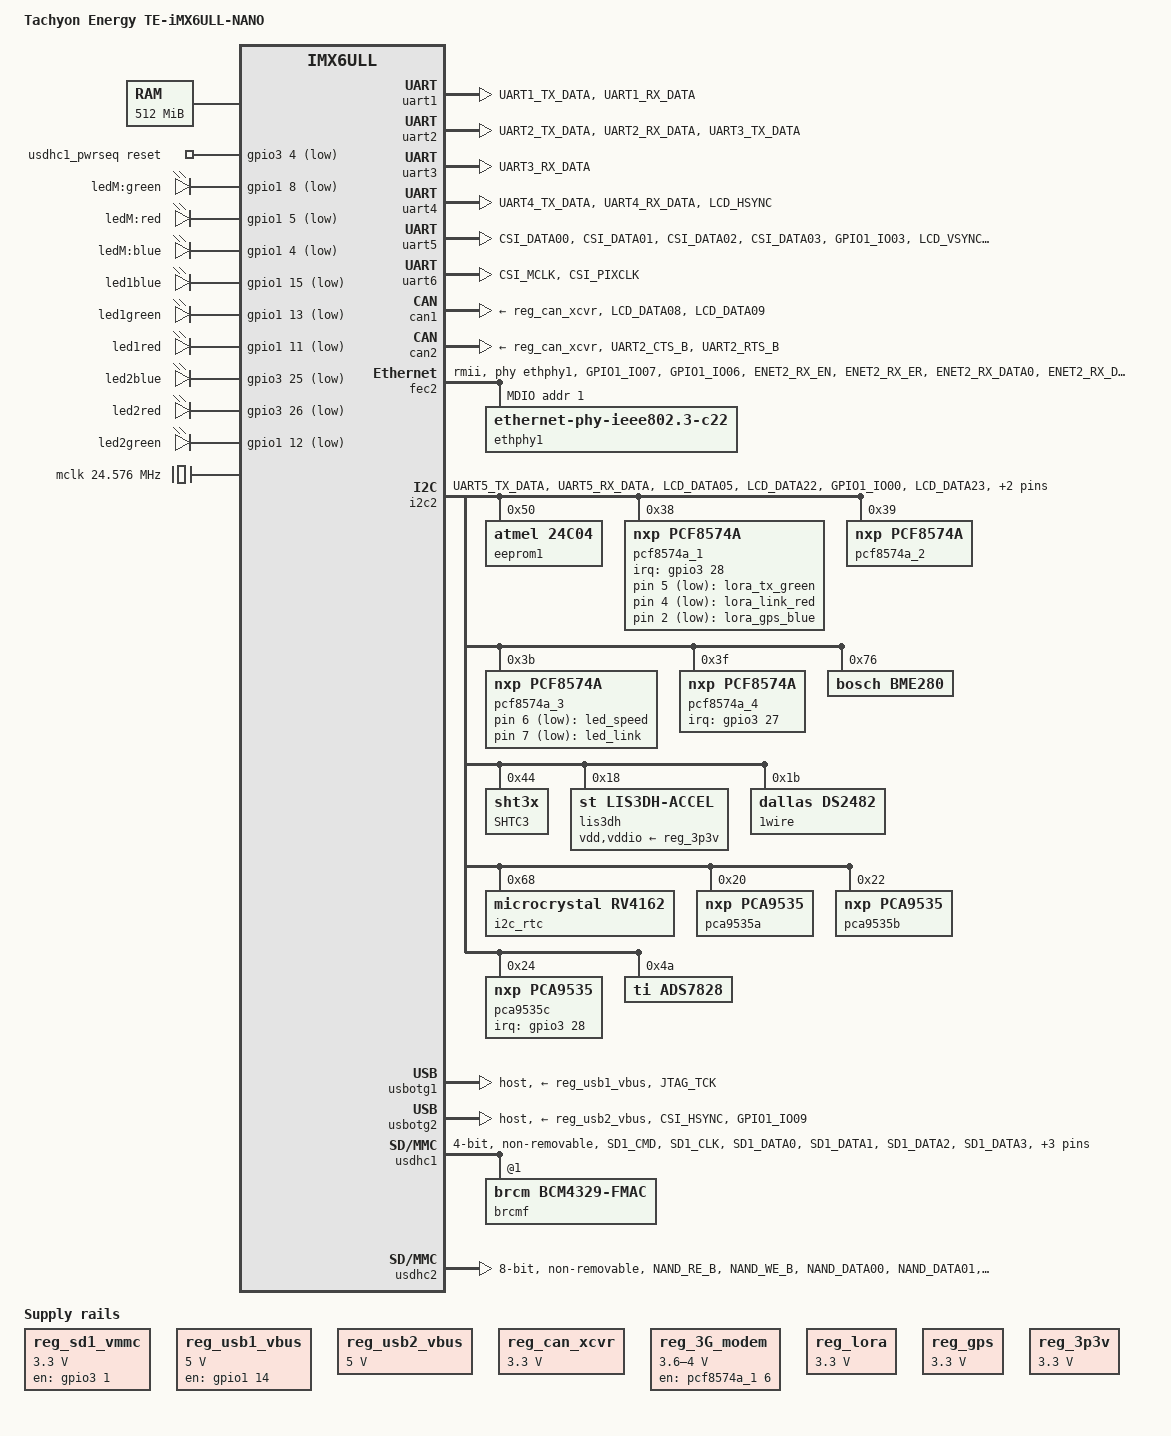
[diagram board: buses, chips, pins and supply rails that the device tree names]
/*
 * Copyright (C) 2015 Freescale Semiconductor, Inc.
 *
 * This program is free software; you can redistribute it and/or modify
 * it under the terms of the GNU General Public License version 2 as
 * published by the Free Software Foundation.
 */

 /*
  * TE-iMX6ULL-NANO-CPU-V1 PLC 
  * www.tachyon.energy
  * contact  d.konnor@tachyon.energy
  */

/dts-v1/;

#include "imx6ull.dtsi"




/ {
        model = "Tachyon Energy TE-iMX6ULL-NANO";
        compatible = "fsl,imx6ull-14x14-evk", "fsl,imx6ull";

        memory {
                reg = <0x80000000 0x20000000>;
        };

        chosen {
                stdout-path = &uart1;
        };

       
        regulators {
                compatible = "simple-bus";
                #address-cells = <1>;
                #size-cells = <0>;

                reg_sd1_vmmc: regulator-sd1 {
                        compatible = "regulator-fixed";
                        reg = <1>;
                        regulator-name = "VSD_3V3";
                        regulator-min-microvolt = <3300000>;
                        regulator-max-microvolt = <3300000>;
                        gpio = <&gpio3 1 GPIO_ACTIVE_HIGH>;
			enable-active-high;
                        regulator-always-on;
                };



		usdhc1_pwrseq: usdhc1_pwrseq {
                        compatible = "mmc-pwrseq-simple";
                        reset-gpios = <&gpio3 4 GPIO_ACTIVE_LOW>;      // WL_REG_ON
                };



                reg_usb1_vbus: regulator-usb1 {
                        compatible = "regulator-fixed";                 // TE
                        reg = <2>;
                        regulator-name = "usb1_vbus";
                        regulator-min-microvolt = <5000000>;
                        regulator-max-microvolt = <5000000>;
                        gpio = <&gpio1 14 GPIO_ACTIVE_HIGH>;
			            enable-active-high;
                        regulator-always-on;
                };


                reg_usb2_vbus: regulator-usb2 {
                        compatible = "regulator-fixed";                 // TE
                        reg = <3>;
                        regulator-name = "usb2_vbus";
                        regulator-min-microvolt = <5000000>;
                        regulator-max-microvolt = <5000000>;
                        regulator-always-on;
                };

                reg_can_xcvr: regulator-canxcvr {
                        compatible = "regulator-fixed";                 // TE
                        reg = <4>;
                        regulator-name = "CAN_XCVR";
                        regulator-min-microvolt = <3300000>;
                        regulator-max-microvolt = <3300000>;
                        regulator-always-on;
    		};

                reg_3G_modem: regulator-3gmodem {                       // 
                        compatible = "regulator-fixed";
                        reg = <5>;
                        regulator-name = "3G_MODEM";
                        regulator-min-microvolt = <3600000>;
                        regulator-max-microvolt = <4000000>;
                        gpio = <&pcf8574a_1 6 GPIO_ACTIVE_HIGH>;
			            enable-active-high;
                        regulator-always-on;
    		};   

                reg_lora: regulator-lora {
                        compatible = "regulator-fixed";
                        reg = <6>;
                        regulator-name = "LoRa";
                        regulator-min-microvolt = <3300000>;
                        regulator-max-microvolt = <3300000>;
                        regulator-always-on;
    		};      

                reg_gps: regulator-gps {
                        compatible = "regulator-fixed";
                        reg = <7>;
                        regulator-name = "GPS";
                        regulator-min-microvolt = <3300000>;
                        regulator-max-microvolt = <3300000>;
                        regulator-always-on;
    		};               

    		reg_3p3v: regulator-3p3v {
                        compatible = "regulator-fixed";
                        reg = <9>;
                        regulator-name = "3P3V";
                        regulator-min-microvolt = <3300000>;
                        regulator-max-microvolt = <3300000>;
                        regulator-always-on;
                        regulator-boot-on;
                };
        };


        leds    {
                        compatible = "gpio-leds";  
                        pinctrl-names = "default";
                        pinctrl-0 = <&pinctrl_led>; 

                    led_module_green:led_green {                                                          // TE Green LED
                        gpios = <&gpio1 8 GPIO_ACTIVE_LOW>;
                        label = "ledM:green";
                        default-state = "off";
                        };
                    led_module_red:led_red {                                                              // TE Red LED
                        gpios = <&gpio1 5 GPIO_ACTIVE_LOW>;
                        label = "ledM:red";
                        default-state = "off";
                        };
                    led_module_blue:led_blue {                                                            // TE Blue LED
                        gpios = <&gpio1 4 GPIO_ACTIVE_LOW>;
                        label = "ledM:blue";
                        default-state = "on";
                        linux,default-trigger = "heartbeat";
                        };

                    led_ext1:led_ext1 {                                 // pin 10                         // TE LED1-BLUE
                        gpios = <&gpio1 15 GPIO_ACTIVE_LOW>;
                        label = "led1blue";
                        default-state = "off";
                        };

                    led_ext2:led_ext2 {                                 // pin 8                          // TE LED1-GREEN
                        gpios = <&gpio1 13 GPIO_ACTIVE_LOW>;
                        label = "led1green";
                        default-state = "on";
                        linux,default-trigger = "heartbeat";
                        };
                    led_ext3:led_ext3 {                                 // pin 6                          // TE LED1-RED
                        gpios = <&gpio1 11 GPIO_ACTIVE_LOW>;
                        label = "led1red";
                        default-state = "off";
                        };
                    led_ext4:led_ext4 {                                 // pin 18                         // TE LED2-BLUE
                        gpios = <&gpio3 25 GPIO_ACTIVE_LOW>;
                        label = "led2blue";
                        default-state = "off";
                        };
                    led_ext5:led_ext5 {                                 // pin 24                         // TE LED-RED
                        gpios = <&gpio3 26 GPIO_ACTIVE_LOW>;
                        label = "led2red";
                        default-state = "off";
                        };
                    led_ext6:led_ext6 {                                 // pin 4                          // TE LED2-GREEN
                        gpios = <&gpio1 12 GPIO_ACTIVE_LOW>;
                        label = "led2green";
                        default-state = "on";
                        };            
        };        

//Ethernet 0 LEDs (Speed and Link)                                                                 // CPU Board     
        leds2   {
                        compatible = "gpio-leds";

                    led_100M:led_eth1 {                                                            // TE ETH Speed LED LED
                        gpios = <&pcf8574a_3 6 GPIO_ACTIVE_LOW>;
                        label = "led_speed";
                        default-state = "on";
                        linux,default-trigger = "20b4000.ethernet-1:01:100Mbps";
                        };     
                    led_link:led_eth2 {                                                            // TE ETH Speed LED LED
                        gpios = <&pcf8574a_3 7 GPIO_ACTIVE_LOW>;
                        label = "led_link";
                        default-state = "on";
                        linux,default-trigger = "20b4000.ethernet-1:01:link";
                        };                      
        };

        leds3   {                                                                                   // Modem board    
                        compatible = "gpio-leds";

                    led_lora_tx:led_lrw_tx {
                        gpios = <&pcf8574a_1 5 GPIO_ACTIVE_LOW>;
                        label = "lora_tx_green";
                        default-state = "off";       
                        };
                    led_lora_link:led_lrw_link {
                        gpios = <&pcf8574a_1 4 GPIO_ACTIVE_LOW>;
                        label = "lora_link_red";
                        default-state = "off";       
                        };
                    led_gps:led_gps {
                        gpios = <&pcf8574a_1 2 GPIO_ACTIVE_LOW>;
                        label = "lora_gps_blue";
                        default-state = "off";       
                        };                  
        };

       clocks {
		mclk: mclk {
		compatible = "fixed-clock";
		#clock-cells = <0>;
		clock-frequency = <24576000>;
		};
	};



};

&gpio1 {

                gpio-line-names = 
                        "", "", "EN_TBD", "", "", "", "", "",
                        "", "MODEM_RESET", "REBOOT", "", "", "", "", "",
                        "", "", "", "", "", "", "", "",
                        "", "", "EN_RELAY", "", "", "", "", "";
};

&gpio3 {

                gpio-line-names = 
                        "", "WIFI_PWR_EN", "", "BT_REG_ON", "WL_REG_ON", "", "", "",
                        "", "WL_HOST_WAKE", "", "", "", "", "", "BT_HOST_WAKE",
                        "BT_WAKE", "", "", "", "", "", "", "",
                        "", "", "", "", "", "", "", "";
};

&gpio4 {

                gpio-line-names = 
                        "", "", "", "", "", "", "", "",
                        "", "", "", "", "", "", "", "",
                        "", "", "", "", "MODEM_POWERKEY", "", "", "",
                        "", "", "", "", "", "", "", "";
};


&clks {
	assigned-clocks = <&clks IMX6UL_CLK_PLL4_AUDIO_DIV>;
	assigned-clock-rates = <786432000>;
};


&uart1 {                                        // TE DUART console  
        pinctrl-names = "default";
        pinctrl-0 = <&pinctrl_uart1>;
        status = "okay";
};


&uart2 {                                        // TE UART2 - RS485 interface 
        pinctrl-names = "default";
        pinctrl-0 = <&pinctrl_uart2>;
        uart-has-rtscts;
	linux,rs485-enabled-at-boot-time;
        status = "okay";
};

&uart3 {                                        // TE UART3 - GPS IN 
        pinctrl-names = "default";
        pinctrl-0 = <&pinctrl_uart3>;
        status = "okay";
};

&uart4 {                                        // TE UART4 - RS485 interface 
        pinctrl-names = "default";
        pinctrl-0 = <&pinctrl_uart4>;
        uart-has-rtscts;
	linux,rs485-enabled-at-boot-time;
        status = "okay";
};

&uart5 {                                        // TE UART5 - Bluetooth interface 
        pinctrl-names = "default";
        pinctrl-0 = <&pinctrl_uart5>;
        uart-has-rtscts;
        status = "okay";
};

&uart6 {                                        // TE LoRa Modem UART 
        pinctrl-names = "default";
        pinctrl-0 = <&pinctrl_uart6>;
        status = "okay";
};


&can1 {
        pinctrl-names = "default";              // TE CAN1 
        pinctrl-0 = <&pinctrl_flexcan1>;
        xceiver-supply = <&reg_can_xcvr>;
        status = "okay";
};

&can2 {
        pinctrl-names = "default";              // TE CAN2 
        pinctrl-0 = <&pinctrl_flexcan2>;
        xceiver-supply = <&reg_can_xcvr>;
        status = "okay";
};

&fec2 {
        pinctrl-names = "default";              // TE
        pinctrl-0 = <&pinctrl_enet2>;
        phy-mode = "rmii";
        phy-reset-gpios = <&gpio3 20 GPIO_ACTIVE_LOW>;
        phy-reset-duration = <100>;
        phy-handle = <&ethphy1>;
        status = "okay";

        mdio {
                #address-cells = <1>;
                #size-cells = <0>;

                ethphy1: ethernet-phy@1 {
                        compatible = "ethernet-phy-ieee802.3-c22";
                        reg = <1>;
                };
        };
};

&gpc {
        fsl,cpu_pupscr_sw2iso = <0x1>;
        fsl,cpu_pupscr_sw = <0x0>;
        fsl,cpu_pdnscr_iso2sw = <0x1>;
        fsl,cpu_pdnscr_iso = <0x1>;
        fsl,ldo-bypass = <0>; /* DCDC, ldo-enable */
};

&i2c2 {
        clock_frequency = <100000>;             // TE
        pinctrl-names = "default";
        pinctrl-0 = <&pinctrl_i2c2>;
        status = "okay";

	eeprom1: eeprom@50 {
                compatible = "atmel,24c04";
                reg = <0x50>;
        };


	pcf8574a_1: gpio@38 {                                     //GPIO Expander1 Modem/LOra PCB
                                    // P0 - Not Used in Ver2
                                    // P1 - Not Used in Ver2
                                    // P2 - LED_GPS
                	            // P3 - LORA_RST
                                    // P4 - LED_LORA_LINK
                    	            // P5 - LED_LORA_TX
                                    // P6 - EN_GSM_PWR
                                    // P7 - GPS_RESET
                compatible = "nxp,pcf8574a";
                reg = <0x38>;                                   // PCF8574A Address -0-0-0
                gpio-controller;
                #gpio-cells = <2>;
                interrupt-parent = <&gpio3>;
                interrupts = <28 0>;
                lines-initial-states = <0xff>;
                gpio-line-names = "", "", "", "LORA_RST",
                                "", "", "EN_GSM_PWR", "RESET_GPS";
                };

        pcf8574a_2: gpio@39 {                                     //GPIO Expander2 Modem/LOra PCB TBD62381A Not Used Now
                                    // P0 - DOUT1
                                    // P1 - DOUT2
                                    // P2 - DOUT3
                	            // P3 - DOUT4
                                    // P4 - DOUT5
                    	            // P5 - DOUT6
                                    // P6 - DOUT7
                                    // P7 - DOUT8
                compatible = "nxp,pcf8574a";
                reg = <0x39>;                                   // PCF8574A Address -1-1-0
                gpio-controller;
                #gpio-cells = <2>;
                lines-initial-states = <0xffff>;
                gpio-line-names = "DOUT1", "DOUT2", "DOUT3", "DOUT4",
                                "DOUT5", "DOUT6", "DOUT7", "DOUT8";
                };

       pcf8574a_3: gpio@3b {                                     //GPIO Expander3 TE-CPU-V1-PCB 
                                    // P0 - Relay1
                                    // P1 - Relay2
                                    // P2 - Relay3
                	            // P3 - Relay4
                                    // P4 - Relay5
                    	            // P5 - Relay6
                                    // P6 - LED-100M
                                    // P7 - LED-LINK
                compatible = "nxp,pcf8574a";
                reg = <0x3b>;                                   // PCF8574A Address -0-1-1
                gpio-controller;
                #gpio-cells = <2>;
                lines-initial-states = <0xffff>;
                gpio-line-names = "RELAY1", "RELAY2", "RELAY3", 
                        "", "", "", "", "";
//                        "RELAY4", "RELAY5", "RELAY6", "", "";
                };

	pcf8574a_4: gpio@3f {                                     //GPIO Expander4 TE-CPU-V1-PCB
                                    // P0 - DIN1
                                    // P1 - DIN2
                                    // P2 - DIN3
                	            // P3 - DIN4
                                    // P4 - DIN5
                    	            // P5 - DIN6
                                    // P6 - DIN7
                                    // P7 - DIN8
                compatible = "nxp,pcf8574a";
                reg = <0x3f>;                                   // PCF8574A Address -1-1-1
                gpio-controller;
                #gpio-cells = <2>;
                interrupt-parent = <&gpio3>;
                interrupts = <27 0>;
                lines-initial-states = <0xff>;
                gpio-line-names = "DIN1", "DIN2", "DIN3", "DIN4",
                                "DIN5", "DIN6", "DIN7", "DIN8";
                };


        bme280:  bme280@76 {
                        compatible = "bosch,bme280";
                        reg = <0x76>;
                        label = "BME280";
                };

        shtc3:  shtc3@44 {                        
                        compatible = "sht3x";
                        reg = <0x44>;
                        label = "SHTC3";

                };        

        lis3dh: lis3dh@18 {
                        compatible = "st,lis3dh-accel";
			reg = <0x18>;
                        vdd-supply = <&reg_3p3v>;
			vddio-supply = <&reg_3p3v>;
                        st,min-interval = <5>;
			st,init-interval = <200>;
			st,axis-map-x = <1>;
			st,axis-map-y = <0>;
			st,axis-map-z = <2>;
			st,g-range = <2>;
			st,negate-x;
			st,negate-y;
			st,negate-z;
                };
	1wire@1B {
			compatible = "dallas,ds2482";
			reg = <0x1B>;
		};

        i2c_rtc: rtc@68 {                
                compatible = "microcrystal,rv4162";
                reg = <0x68>;
                };


        pca9535a: gpio-expander@20 {							// TE-EXP-15R-Rev2A
                compatible = "nxp,pca9535";
                reg = <0x20>;
                gpio-controller;
                #gpio-cells = <2>;
                gpio-line-names = "RELAY7", "RELAY8", "RELAY9", "RELAY10",
                      "RELAY11", "RELAY12", "RELAY13", "RELAY14",
                      "RELAY15", "RELAY16", "RELAY17", "RELAY18",
                      "RELAY19", "RELAY20", "RELAY21", "";
        };

        pca9535b: gpio-expander@22 {							// TE-EXP-9R12i-Rev2A Relay Outputs
                compatible = "nxp,pca9535";
                reg = <0x22>;
                gpio-controller;
                #gpio-cells = <2>;
                gpio-line-names = "RELAY22", "RELAY23", "RELAY24", "RELAY25",
                      "RELAY26", "RELAY27", "RELAY28", "RELAY29",
                      "RELAY30", "", "", "",
                      "", "", "", "";
        };

	pca9535c: gpio-expander@24 {							// TE-EXP-9R12i-Rev2A
                compatible = "nxp,pca9535";
                reg = <0x24>;
                gpio-controller;
                #gpio-cells = <2>;
		interrupt-parent = <&gpio3>;
		interrupts = <28 0>;
		interrupt-controller;
		#interrupt-cells = <2>;
                gpio-line-names = "DIN20", "DIN19", "DIN18", "DIN17",
                      "DIN16", "DIN15", "DIN14", "DIN13",
                      "DIN12", "DIN11", "DIN10", "DIN9",
                      "", "", "", "";
        };

         ads7828@4a {
                compatible = "ti,ads7828";
                reg = <0x4a>;
        };

        

};

&usbotg1 {
        dr_mode = "host";
        srp-disable;
        hnp-disable;
        adp-disable;
        pinctrl-names = "default";
        pinctrl-0 = <&pinctrl_usb_otg1>;
        vbus-supply = <&reg_usb1_vbus>;
        status = "okay";
};

&usbotg2 {
        vbus-supply = <&reg_usb2_vbus>;
        dr_mode = "host";
        disable-over-current;
        pinctrl-names = "default";
        pinctrl-0 = <&pinctrl_usb_otg2>;
        status = "okay";
};

&usbphy1 {
        tx-d-cal = <0x5>;
};

&usbphy2 {
        tx-d-cal = <0x5>;
};


&usdhc1 {
        #address-cells = <1>;
        #size-cells = <0>;
        pinctrl-names = "default";
        pinctrl-0 = <&pinctrl_usdhc1>;
        bus-width = <4>;
        no-1-8-v;
        non-removable;
        mmc-pwrseq = <&usdhc1_pwrseq>;
        status = "okay";

        brcmf: bcrmf@1 {
                reg = <1>;
                compatible = "brcm,bcm4329-fmac", "brcm,bcm43xx-fmac";
        };
};



&usdhc2 {
        pinctrl-names = "default";
        pinctrl-0 = <&pinctrl_usdhc2>;
        bus-width = <8>;
        no-1-8-v;
        non-removable;
        keep-power-in-suspend;
        enable-sdio-wakeup;
        status = "okay";
};

&iomuxc {
        pinctrl-names = "default";
        pinctrl-0 = <&pinctrl_hog>;
        pinctrl_hog: hoggrp {
                        fsl,pins = <
                        >;
                };

                 pinctrl_led: ledgrp {
                        fsl,pins = <
                                MX6UL_PAD_GPIO1_IO04__GPIO1_IO04        0x1b0b0         /* Blue LED              */
                                MX6UL_PAD_GPIO1_IO05__GPIO1_IO05        0x1b0b0         /* Red LED               */
                                MX6UL_PAD_GPIO1_IO08__GPIO1_IO08        0x1b0b0         /* Green LED             */

                                MX6UL_PAD_JTAG_TRST_B__GPIO1_IO15       0x1b0b0         /* CPU PCB LED1         */
                                MX6UL_PAD_JTAG_TDI__GPIO1_IO13          0x1b0b0         /* CPU PCB LED2         */
                                MX6UL_PAD_JTAG_TMS__GPIO1_IO11          0x1b0b0         /* CPU PCB LED3         */
                                MX6UL_PAD_JTAG_TDO__GPIO1_IO12          0x1b0b0
                                MX6UL_PAD_LCD_DATA20__GPIO3_IO25        0x1b0b0
                                MX6UL_PAD_LCD_DATA21__GPIO3_IO26        0x1b0b0
                        >;
                };


                pinctrl_enet1: enet1grp {
                        fsl,pins = <
                                MX6UL_PAD_ENET1_RX_EN__ENET1_RX_EN      0x1b0b0
                                MX6UL_PAD_ENET1_RX_ER__ENET1_RX_ER      0x1b0b0
                                MX6UL_PAD_ENET1_RX_DATA0__ENET1_RDATA00 0x1b0b0
                                MX6UL_PAD_ENET1_RX_DATA1__ENET1_RDATA01 0x1b0b0
                                MX6UL_PAD_ENET1_TX_EN__ENET1_TX_EN      0x1b0b0
                                MX6UL_PAD_ENET1_TX_DATA0__ENET1_TDATA00 0x1b0b0
                                MX6UL_PAD_ENET1_TX_DATA1__ENET1_TDATA01 0x1b0b0
                                MX6UL_PAD_ENET1_TX_CLK__ENET1_REF_CLK1  0x4001b031
                                MX6UL_PAD_SNVS_TAMPER7__GPIO5_IO07      0x0b0b0
                        >;
                };

                pinctrl_enet2: enet2grp {
                        fsl,pins = <
                                MX6UL_PAD_GPIO1_IO07__ENET2_MDC         0x1b0b0
                                MX6UL_PAD_GPIO1_IO06__ENET2_MDIO        0x1b0b0
                                MX6UL_PAD_ENET2_RX_EN__ENET2_RX_EN      0x1b0b0
                                MX6UL_PAD_ENET2_RX_ER__ENET2_RX_ER      0x1b0b0
                                MX6UL_PAD_ENET2_RX_DATA0__ENET2_RDATA00 0x1b0b0
                                MX6UL_PAD_ENET2_RX_DATA1__ENET2_RDATA01 0x1b0b0
                                MX6UL_PAD_ENET2_TX_EN__ENET2_TX_EN      0x1b0b0
                                MX6UL_PAD_ENET2_TX_DATA0__ENET2_TDATA00 0x1b0b0
                                MX6UL_PAD_ENET2_TX_DATA1__ENET2_TDATA01 0x1b0b0
                                MX6UL_PAD_ENET2_TX_CLK__ENET2_REF_CLK2  0x4001b031
                                MX6UL_PAD_LCD_DATA15__GPIO3_IO20        0x1b0b0
                        >;
                };

		pinctrl_i2c2: i2c2grp {
                        fsl,pins = <
                                       
                                MX6UL_PAD_UART5_TX_DATA__I2C2_SCL       0x4001b8b0 
                                MX6UL_PAD_UART5_RX_DATA__I2C2_SDA       0x4001b8b0
                                MX6UL_PAD_LCD_DATA05__GPIO3_IO10        0x1b0b0         /* MPU6050 or LIS3DH IRQ Input */
                                MX6UL_PAD_LCD_DATA22__GPIO3_IO27        0x1b0b0         /* DINT2  */
				MX6UL_PAD_GPIO1_IO00__GPIO1_IO00        0x1b0b0         /* DINT1  */
                                MX6UL_PAD_LCD_DATA23__GPIO3_IO28        0x1b0b0         /* DINT - TE-EXP-9R12i-Rev2A */
                                MX6UL_PAD_UART3_CTS_B__GPIO1_IO26       0x1b0b0         /* Enable Relay Power pin       */
				MX6UL_PAD_GPIO1_IO02__GPIO1_IO02        0x1b0b0         /* EN_TBD Rest pin  */
                        >;
                };

                pinctrl_uart1: uart1grp {
                        fsl,pins = <
                                MX6UL_PAD_UART1_TX_DATA__UART1_DCE_TX   0x1b0b1           
                                MX6UL_PAD_UART1_RX_DATA__UART1_DCE_RX   0x1b0b1
                        >;
                };

                pinctrl_uart2: uart2grp {
                        fsl,pins = <
                                MX6UL_PAD_UART2_TX_DATA__UART2_DCE_TX   0x1b0b0         
                                MX6UL_PAD_UART2_RX_DATA__UART2_DCE_RX   0x1b0b0
                                MX6UL_PAD_UART3_TX_DATA__UART2_DCE_CTS  0x1b0b0       
                        >;
                };

                pinctrl_uart3: uart3grp {
                        fsl,pins = <        
                                MX6UL_PAD_UART3_RX_DATA__UART3_DCE_RX   0x1b0b1     
                        >;
                };


                pinctrl_uart4: uart4grp {
                        fsl,pins = <
                                MX6UL_PAD_UART4_TX_DATA__UART4_DCE_TX   0x1b0b0        
                                MX6UL_PAD_UART4_RX_DATA__UART4_DCE_RX   0x1b0b0
                                MX6UL_PAD_LCD_HSYNC__UART4_DCE_CTS      0x1b0b0
                        >;
                };

                pinctrl_uart5: uart5grp {                                               // Bluetooth UART
                        fsl,pins = <   
                                MX6UL_PAD_CSI_DATA00__UART5_DCE_TX      0x1b0b1                                    
                                MX6UL_PAD_CSI_DATA01__UART5_DCE_RX      0x1b0b1         
                                MX6UL_PAD_CSI_DATA02__UART5_DCE_RTS     0x1b0b1
                                MX6UL_PAD_CSI_DATA03__UART5_DCE_CTS     0x1b0b1
                                MX6UL_PAD_GPIO1_IO03__OSC32K_32K_OUT    0x14            // 32kHz output      
                                MX6UL_PAD_LCD_VSYNC__GPIO3_IO03         0x1b0b0         // BT_REG_ON
                                MX6UL_PAD_LCD_DATA10__GPIO3_IO15        0x1b0b0         // BT_HOST_WAKE
                                MX6UL_PAD_LCD_DATA11__GPIO3_IO16        0x1b0b0         // BT_WAKE

                        >;
                };

                pinctrl_uart6: uart6grp {
                        fsl,pins = <
                                MX6UL_PAD_CSI_MCLK__UART6_DCE_TX        0x1b0b1
                                MX6UL_PAD_CSI_PIXCLK__UART6_DCE_RX      0x1b0b1
                        >;
                };

                pinctrl_flexcan1: flexcan1grp {
                        fsl,pins = <
                                MX6UL_PAD_LCD_DATA08__FLEXCAN1_TX      0x0b0b0
                                MX6UL_PAD_LCD_DATA09__FLEXCAN1_RX      0x0b0b0
                >;
                };

                pinctrl_flexcan2: flexcan2grp {
                        fsl,pins = <
                                MX6UL_PAD_UART2_CTS_B__FLEXCAN2_TX      0x0b0b0         
                                MX6UL_PAD_UART2_RTS_B__FLEXCAN2_RX      0x0b0b0
                >;
                };





                

/* USDH1 - WIFI */
		pinctrl_usdhc1: usdhc1grp {
                        fsl,pins = <
                                MX6UL_PAD_SD1_CMD__USDHC1_CMD           0x17059               
                                MX6UL_PAD_SD1_CLK__USDHC1_CLK           0x10059               
                                MX6UL_PAD_SD1_DATA0__USDHC1_DATA0       0x17059
                                MX6UL_PAD_SD1_DATA1__USDHC1_DATA1       0x17059
                                MX6UL_PAD_SD1_DATA2__USDHC1_DATA2       0x17059
                                MX6UL_PAD_SD1_DATA3__USDHC1_DATA3       0x17059              
                                MX6UL_PAD_LCD_RESET__GPIO3_IO04         0x1b0b0               // WL_REG_ON  
                                MX6UL_PAD_LCD_DATA04__GPIO3_IO09        0x1b0b0               // WL_HOST_WAKE
                                MX6UL_PAD_LCD_ENABLE__GPIO3_IO01        0x1b0b0               // WIFI_PWR_EN
                         
                        >;
                };

                pinctrl_usdhc2: usdhc2grp {
                        fsl,pins = <
                                MX6UL_PAD_NAND_RE_B__USDHC2_CLK         0x10069
                                MX6UL_PAD_NAND_WE_B__USDHC2_CMD         0x17059
                                MX6UL_PAD_NAND_DATA00__USDHC2_DATA0     0x17059
                                MX6UL_PAD_NAND_DATA01__USDHC2_DATA1     0x17059
                                MX6UL_PAD_NAND_DATA02__USDHC2_DATA2     0x17059
                                MX6UL_PAD_NAND_DATA03__USDHC2_DATA3     0x17059
                                MX6UL_PAD_NAND_DATA04__USDHC2_DATA4     0x17059
                                MX6UL_PAD_NAND_DATA05__USDHC2_DATA5     0x17059
                                MX6UL_PAD_NAND_DATA06__USDHC2_DATA6     0x17059
                                MX6UL_PAD_NAND_DATA07__USDHC2_DATA7     0x17059

                        >;
                };

                pinctrl_usb_otg1: usb1grp {
                        fsl,pins = <                                
                                MX6UL_PAD_JTAG_TCK__GPIO1_IO14         0x1b0b0                 /* USB1 Power Enable switch      */
                        >;
                };

                pinctrl_usb_otg2: usb2grp {
                        fsl,pins = <                                
                                MX6UL_PAD_CSI_HSYNC__GPIO4_IO20         0x1b0b0                 /* SIM5300E PowerKey            */
                                MX6UL_PAD_GPIO1_IO09__GPIO1_IO09        0x1b0b0                 /* SIM5300E Reset               */
                        >;
                };
};


